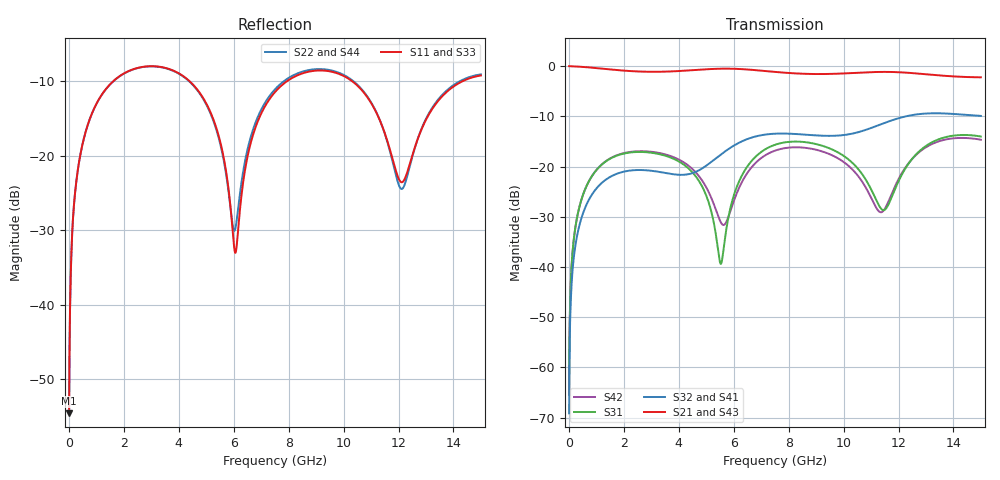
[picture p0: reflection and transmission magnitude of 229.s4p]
! Created with skrf 1.8.0 (http://scikit-rf.org).
# GHz S RI R 50.0
!freq ReS11 ImS11 ReS12 ImS12 ReS13 ImS13
! ReS14 ImS14
! ReS21 ImS21 ReS22 ImS22 ReS23 ImS23
! ReS24 ImS24
! ReS31 ImS31 ReS32 ImS32 ReS33 ImS33
! ReS34 ImS34
! ReS41 ImS41 ReS42 ImS42 ReS43 ImS43
! ReS44 ImS44
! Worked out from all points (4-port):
!   2499 points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, 5 MHz to 15 GHz, reference 50 ohm
!   strongest paths, dB at 5 MHz, 3.476 GHz, 7.19 GHz, 11.1 GHz, 15 GHz:
!     S21: 0.0, -1.1, -1.0, -1.2, -2.2
!     S43: 0.0, -1.1, -1.0, -1.2, -2.2
!     S32: -69.1, -21.2, -13.6, -12.1, -9.9
!     S41: -69.1, -21.3, -13.6, -12.1, -9.9
!     S31: -65.4, -17.8, -16.4, -25.6, -14.0
!     S42: -65.4, -17.5, -17.6, -27.3, -14.7
!   lowest |S11| = -54.5 dB at 5 MHz (marker M1), VSWR 1.00, Z = 50.1 + j0.114 ohm
!   |S11| at or under -10 dB: start of sweep to 1.604 GHz; 4.4 GHz to 7.928 GHz (3.528 GHz wide, 57.2 % of centre); 10.32 GHz to 14.32 GHz (3.995 GHz wide, 32.4 % of centre)
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0.005  0.00149 0.00114  0.9985 -0.0029  7.23e-05 0.000532  -7.06e-05 -0.000342
       0.9985 -0.0029  0.00149 0.00114  -7.06e-05 -0.000342  7.23e-05 0.000532
       7.23e-05 0.000532  -7.06e-05 -0.000342  0.00149 0.00114  0.9985 -0.0029
       -7.06e-05 -0.000342  7.23e-05 0.000532  0.9985 -0.0029  0.00149 0.00114
0.3126303  0.0204 0.0756  0.9723 -0.181  0.0083 0.0319  -0.00709 -0.0204
           0.9723 -0.181  0.0204 0.0756  -0.0071 -0.0204  0.00851 0.0319
           0.0083 0.0319  -0.0071 -0.0204  0.0204 0.0756  0.9723 -0.181
           -0.00709 -0.0204  0.00851 0.0319  0.9723 -0.181  0.0204 0.0756
1.569404  0.2468 0.1906  0.6032 -0.6981  0.1056 0.0622  -0.0794 -0.0146
          0.6032 -0.6981  0.246 0.191  -0.0795 -0.0145  0.1087 0.0586
          0.1056 0.0622  -0.0795 -0.0145  0.2468 0.1907  0.6031 -0.6981
          -0.0794 -0.0146  0.1087 0.0586  0.6031 -0.6981  0.246 0.191
5.858691  0.0255 -0.0431  -0.9309 -0.148  0.0157 0.033  -0.0212 0.1512
          -0.9309 -0.148  0.0336 -0.0354  -0.0204 0.1512  -0.0235 0.0256
          0.0157 0.033  -0.0204 0.1512  0.0264 -0.0439  -0.9309 -0.1481
          -0.0212 0.1512  -0.0235 0.0256  -0.9309 -0.1481  0.033 -0.0363
9.378908  0.3712 -0.0303  0.0232 0.8343  0.1192 -0.1005  0.1926 -0.0613
          0.0232 0.8343  0.3772 -0.0455  0.1923 -0.0626  0.1159 -0.0723
          0.1192 -0.1005  0.1923 -0.0626  0.3709 -0.0322  0.0239 0.8342
          0.1926 -0.0613  0.1159 -0.0723  0.0239 0.8342  0.3774 -0.0443
12.1113  0.0665 -0.00417  0.8589 0.1126  0.000763 0.0821  0.0331 -0.3066
         0.8589 0.1126  0.0599 -0.00445  0.0309 -0.307  -0.0042 0.0849
         0.000763 0.0821  0.0309 -0.307  0.0645 -0.007  0.859 0.112
         0.0331 -0.3066  -0.0042 0.0849  0.859 0.112  0.0621 -0.00619
15  0.3451 0.0327  0.2123 -0.7436  0.1732 -0.0979  -0.318 -0.0188
    0.2123 -0.7436  0.3517 0.0237  -0.319 -0.0154  0.1639 -0.0856
    0.1732 -0.0979  -0.319 -0.0154  0.3399 0.0319  0.2107 -0.7458
    -0.318 -0.0188  0.1639 -0.0856  0.2107 -0.7458  0.3486 0.0208
